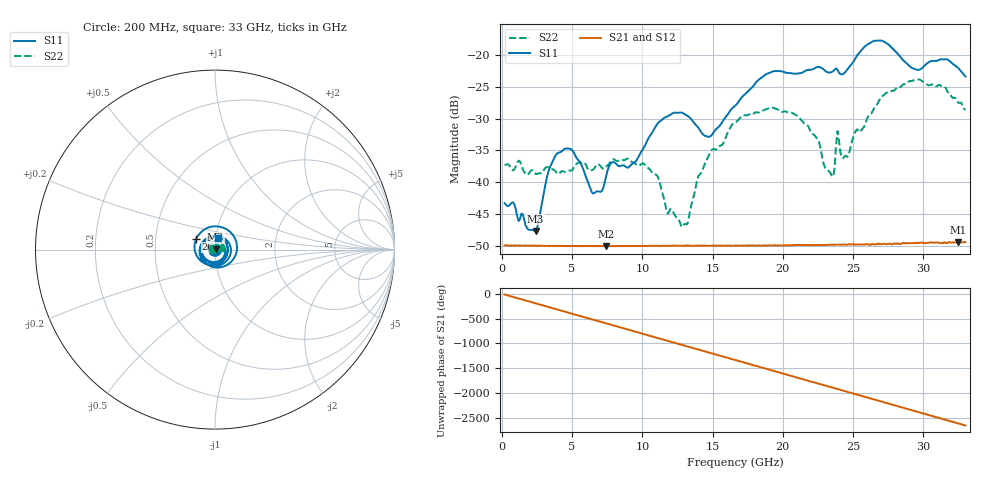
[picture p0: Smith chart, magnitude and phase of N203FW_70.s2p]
# GHZ S RI R 50
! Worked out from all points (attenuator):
!   329 points, 200 MHz to 33 GHz, reference 50 ohm
!   highest |S21| = -49.43 dB at 32.5 GHz (marker M1); lowest = -50.1 dB at 7.4 GHz (marker M2)
!   lowest |S11| = -47.7 dB at 2.4 GHz (marker M3), VSWR 1.01, Z = 50.3 + j0.263 ohm
!   |S11| at or under -10 dB: start of sweep to end of sweep
!   |S22| runs from -47.1 to -23.8 dB; largest |S21 - S12| = 8.8e-05
!   S11 on the Smith chart (normalised r, x): 200 MHz: 1.01, +0.00; 26 GHz: 0.81, +0.10; 33 GHz: 1.03, +0.14
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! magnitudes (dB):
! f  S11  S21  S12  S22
! 200 MHz  -43.3  -50.0  -49.9  -37.3
! 2.4 GHz  -47.7  -50.0  -50.0  -38.7
! 3.9 GHz  -35.6  -50.0  -50.0  -38.5
! 5.7 GHz  -37.4  -50.1  -50.0  -36.9
! 6.5 GHz  -41.8  -50.1  -50.1  -38.0
! 7.4 GHz  -39.3  -50.1  -50.0  -37.6
! 11.2 GHz  -30.5  -50.0  -50.0  -39.7
! 11.8 GHz  -29.6  -50.0  -50.0  -44.9
! 13.2 GHz  -29.5  -50.0  -50.0  -46.6
! 14.8 GHz  -32.8  -50.0  -50.0  -35.5
! 16.6 GHz  -28.0  -50.0  -50.0  -30.5
! 19.3 GHz  -22.6  -49.9  -50.0  -28.3
! 22.1 GHz  -22.3  -49.9  -49.9  -32.4
! 23.6 GHz  -22.5  -49.9  -49.9  -39.1
! 23.9 GHz  -22.3  -49.9  -49.9  -31.9
! 24.2 GHz  -23.0  -49.8  -49.8  -36.2
! 24.6 GHz  -22.2  -49.9  -49.8  -36.0
! 26 GHz  -18.4  -49.8  -49.8  -30.0
! 27.6 GHz  -18.5  -49.7  -49.7  -25.8
! 29.7 GHz  -22.3  -49.6  -49.6  -23.8
! 32.5 GHz  -22.1  -49.4  -49.4  -27.5
! 33 GHz  -23.4  -49.4  -49.5  -28.7
